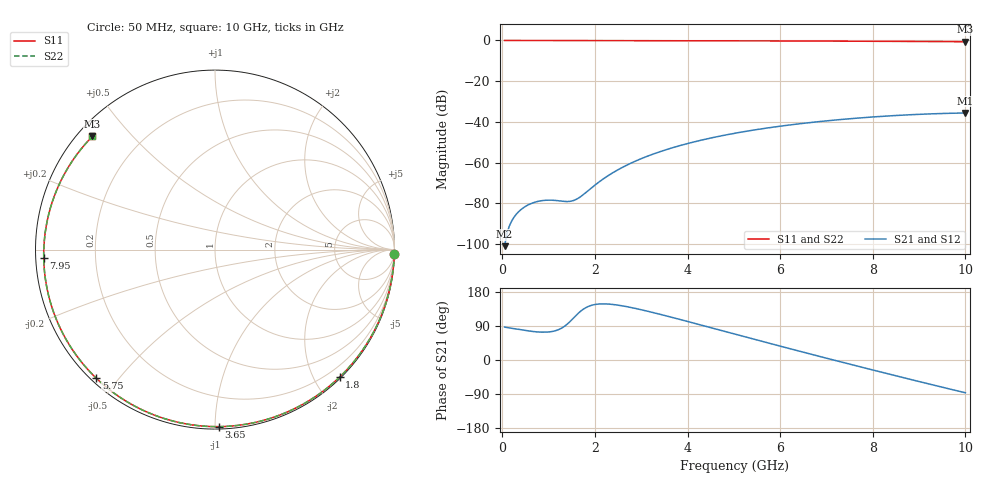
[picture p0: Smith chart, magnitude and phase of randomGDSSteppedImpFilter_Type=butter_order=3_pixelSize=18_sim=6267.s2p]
! freq	dB(S11)	phase(S11)	dB(S12)	phase(S12)
!  dB(S21)	phase(S21)	dB(S22)	phase(S22)
!S-par simulation data
#  GHz  S  DB  R 50
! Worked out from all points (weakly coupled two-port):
!   200 points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, 50 MHz to 10 GHz, reference 50 ohm
!   highest |S21| = -35.65 dB at 10 GHz (marker M1); lowest = -101.1 dB at 50 MHz (marker M2)
!   lowest |S11| = -0.6 dB at 10 GHz (marker M3), VSWR 27.46, Z = 2.1 + j19.5 ohm
!   |S11| at or under -10 dB: nowhere
!   |S22| runs from -0.6 to 0.0 dB; largest |S21 - S12| = 0
!   S11 on the Smith chart (normalised r, x): 50 MHz: 1, -91; 1.8 GHz: 0.02, -2.38; 3.65 GHz: 0.01, -1.02; 5.75 GHz: 0.01, -0.44; 7.95 GHz: 0.02, -0.03; 10 GHz: 0.04, +0.39
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0.05  -0.00 -1.3  -101.09 87.0  -101.09 87.0  -0.00 -1.3
0.6  -0.02 -15.5  -80.36 76.1  -80.36 76.1  -0.02 -15.5
0.85  -0.03 -21.9  -78.73 73.5  -78.73 73.5  -0.03 -21.9
1  -0.03 -25.7  -78.46 74.0  -78.46 74.0  -0.03 -25.7
1.45  -0.05 -37.0  -79.10 100.0  -79.10 100.0  -0.05 -37.0
1.6  -0.05 -40.7  -78.04 118.5  -78.04 118.5  -0.05 -40.7
1.75  -0.06 -44.4  -75.74 134.1  -75.74 134.1  -0.06 -44.4
1.8  -0.06 -45.6  -74.82 137.8  -74.82 137.8  -0.06 -45.6
2.15  -0.07 -54.1  -68.53 148.1  -68.53 148.1  -0.07 -54.1
2.5  -0.08 -62.4  -63.51 144.7  -63.51 144.7  -0.08 -62.4
2.9  -0.09 -71.8  -59.04 135.4  -59.04 135.4  -0.09 -71.8
3.4  -0.11 -83.1  -54.70 120.8  -54.70 120.8  -0.11 -83.1
3.65  -0.12 -88.6  -52.89 113.0  -52.89 113.0  -0.12 -88.6
4.35  -0.14 -103.8  -48.71 90.4  -48.71 90.4  -0.14 -103.8
5.05  -0.18 -118.4  -45.48 67.4  -45.48 67.4  -0.18 -118.4
5.75  -0.22 -132.7  -42.92 44.7  -42.92 44.7  -0.22 -132.7
6.7  -0.28 -151.7  -40.21 14.2  -40.21 14.2  -0.28 -151.7
7.35  -0.34 -164.8  -38.77 -6.2  -38.77 -6.2  -0.34 -164.8
7.95  -0.40 -177.1  -37.68 -24.8  -37.68 -24.8  -0.40 -177.1
8.35  -0.44 174.5  -37.08 -37.1  -37.08 -37.1  -0.44 174.5
9.2  -0.53 155.9  -36.12 -62.9  -36.12 -62.9  -0.53 155.9
10  -0.63 137.3  -35.65 -86.5  -35.65 -86.5  -0.63 137.3
